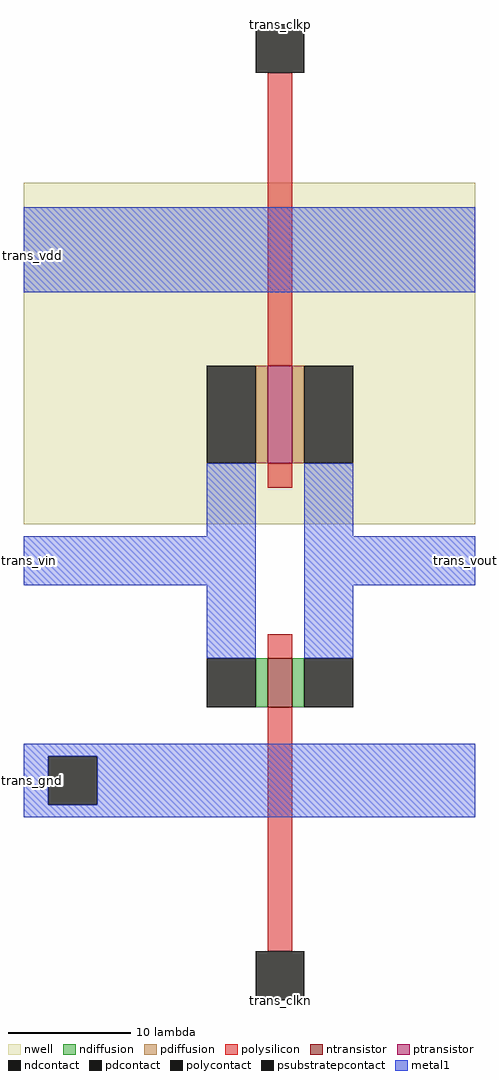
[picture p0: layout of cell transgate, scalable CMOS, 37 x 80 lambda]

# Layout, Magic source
magic
tech scmos
<< nwell >>
rect -16 15 21 43
<< polysilicon >>
rect 4 28 6 52
rect 4 18 6 20
rect 4 4 6 6
rect 4 -20 6 0
<< ndiffusion >>
rect 3 0 4 4
rect 6 0 7 4
<< pdiffusion >>
rect 3 20 4 28
rect 6 20 7 28
<< metal1 >>
rect -16 34 21 41
rect -1 14 3 20
rect -16 10 3 14
rect -1 4 3 10
rect 7 14 11 20
rect 7 10 21 14
rect 7 4 11 10
rect -16 -4 21 -3
rect -16 -8 -14 -4
rect -10 -8 21 -4
rect -16 -9 21 -8
<< ntransistor >>
rect 4 0 6 4
<< ptransistor >>
rect 4 20 6 28
<< polycontact >>
rect 3 52 7 56
rect 3 -24 7 -20
<< ndcontact >>
rect -1 0 3 4
rect 7 0 11 4
<< pdcontact >>
rect -1 20 3 28
rect 7 20 11 28
<< psubstratepcontact >>
rect -14 -8 -10 -4
<< labels >>
rlabel polycontact 5 56 5 56 5 trans_clkp
port 1 s
rlabel metal1 -16 12 -16 12 3 trans_vin
port 2 e
rlabel polycontact 5 -24 5 -24 1 trans_clkn
port 3 n
rlabel metal1 21 12 21 12 7 trans_vout
port 4 w
rlabel metal1 -16 -6 -16 -6 3 trans_gnd
port 6 e
rlabel metal1 -16 37 -16 37 3 trans_vdd
port 5 e
<< end >>
